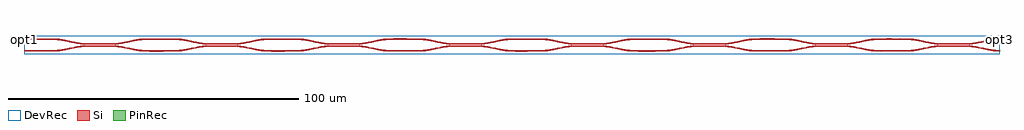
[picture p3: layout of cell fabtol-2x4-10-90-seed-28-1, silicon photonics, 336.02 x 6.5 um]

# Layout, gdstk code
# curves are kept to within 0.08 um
import gdstk
lib = gdstk.Library(unit=1e-6, precision=1e-09)
def R(c, l, rs):  # rectangles x0, y0, x1, y1
    for r in rs: c.add(gdstk.rectangle(r[:2], r[2:], *l))
def P(c, l, *ps):  # polygons
    for p in ps: c.add(gdstk.Polygon(p, *l))
Si = (1, 0)
PinRec = (1, 10)
DevRec = (68, 0)

layer_3_0_phase_sec_3_51 = lib.new_cell('layer-3_0_phase_sec_3$51')
P(layer_3_0_phase_sec_3_51, Si, [(1.074,-0.237),(0,-0.225),(0,0.225),(10,0.225),(10,-0.225)])

layer_3_0_phase_sec_1_51 = lib.new_cell('layer-3_0_phase_sec_1$51')
P(layer_3_0_phase_sec_1_51, Si, [(3.677,-0.226),(0,-0.225),(0,0.225),(10,0.225),(10,-0.225)])

layer_2_0_phase_sec_0_51 = lib.new_cell('layer-2_0_phase_sec_0$51')
P(layer_2_0_phase_sec_0_51, Si, [(1.5,-0.231),(0,-0.225),(0,0.225),(10,0.225),(10,-0.225)])

layer_0_0_phase_sec_0_51 = lib.new_cell('layer-0_0_phase_sec_0$51')
P(layer_0_0_phase_sec_0_51, Si, [(4.736,-0.239),(0,-0.225),(0,0.225),(10,0.225),(10,-0.225)])

layer_0_0_phase_sec_3_51 = lib.new_cell('layer-0_0_phase_sec_3$51')
P(layer_0_0_phase_sec_3_51, Si, [(3.536,-0.247),(0,-0.225),(0,0.225),(10,0.225),(10,-0.225)])

layer_2_0_phase_sec_1_51 = lib.new_cell('layer-2_0_phase_sec_1$51')
P(layer_2_0_phase_sec_1_51, Si, [(1.054,-0.245),(0,-0.225),(0,0.225),(10,0.225),(10,-0.225)])

layer_0_0_phase_sec_1_51 = lib.new_cell('layer-0_0_phase_sec_1$51')
P(layer_0_0_phase_sec_1_51, Si, [(3.836,-0.23),(0,-0.225),(0,0.225),(10,0.225),(10,-0.225)])

layer_1_0_phase_sec_0_51 = lib.new_cell('layer-1_0_phase_sec_0$51')
P(layer_1_0_phase_sec_0_51, Si, [(1.122,-0.23),(0,-0.225),(0,0.225),(10,0.225),(10,-0.225)])

layer_1_0_phase_sec_1_51 = lib.new_cell('layer-1_0_phase_sec_1$51')
P(layer_1_0_phase_sec_1_51, Si, [(3.449,-0.246),(0,-0.225),(0,0.225),(10,0.225),(10,-0.225)])

layer_2_0_phase_sec_3_51 = lib.new_cell('layer-2_0_phase_sec_3$51')
P(layer_2_0_phase_sec_3_51, Si, [(2.911,-0.245),(0,-0.225),(0,0.225),(10,0.225),(10,-0.225)])

layer_0_0_phase_sec_2_51 = lib.new_cell('layer-0_0_phase_sec_2$51')
P(layer_0_0_phase_sec_2_51, Si, [(3.613,-0.232),(0,-0.225),(0,0.225),(10,0.225),(10,-0.225)])

layer_1_0_phase_sec_2_51 = lib.new_cell('layer-1_0_phase_sec_2$51')
P(layer_1_0_phase_sec_2_51, Si, [(4.588,-0.246),(0,-0.225),(0,0.225),(10,0.225),(10,-0.225)])

layer_3_0_phase_sec_0_51 = lib.new_cell('layer-3_0_phase_sec_0$51')
P(layer_3_0_phase_sec_0_51, Si, [(1.281,-0.25),(0,-0.225),(0,0.225),(10,0.225),(10,-0.225)])

dc_arm_up_51 = lib.new_cell('dc_arm_up$51')
R(dc_arm_up_51, Si, [(12,0.1,20,0.55)])
P(dc_arm_up_51, Si, [(12,0.1),(10.861,0.137),(9.344,0.292),(2.966,1.532),(1.481,1.712),(0,1.775),(0,2.225),(1.139,2.188),(2.656,2.033),(9.034,0.793),(10.519,0.613),(12,0.55)],
  [(20,0.1),(20,0.55),(21.481,0.613),(22.966,0.793),(29.344,2.033),(30.861,2.188),(32,2.225),(32,1.775),(30.519,1.712),(29.034,1.532),(22.656,0.292),(21.139,0.137)])

dc_arm_down_51 = lib.new_cell('dc_arm_down$51')
R(dc_arm_down_51, Si, [(12,-0.55,20,-0.1)])
P(dc_arm_down_51, Si, [(0,-2.225),(0,-1.775),(1.481,-1.712),(2.966,-1.532),(9.344,-0.292),(10.861,-0.137),(12,-0.1),(12,-0.55),(10.519,-0.613),(9.034,-0.793),(2.656,-2.033),(1.139,-2.188)],
  [(32,-2.225),(30.861,-2.188),(29.344,-2.033),(22.966,-0.793),(21.481,-0.613),(20,-0.55),(20,-0.1),(21.139,-0.137),(22.656,-0.292),(29.034,-1.532),(30.519,-1.712),(32,-1.775)])

dc_51 = lib.new_cell('dc$51')
dc_51.add(gdstk.Reference(dc_arm_up_51, (0,0)))
dc_51.add(gdstk.Reference(dc_arm_down_51, (0,0)))

layer_2_0_phase_sec_2_51 = lib.new_cell('layer-2_0_phase_sec_2$51')
P(layer_2_0_phase_sec_2_51, Si, [(4.489,-0.234),(0,-0.225),(0,0.225),(10,0.225),(10,-0.225)])

layer_3_0_phase_sec_2_51 = lib.new_cell('layer-3_0_phase_sec_2$51')
P(layer_3_0_phase_sec_2_51, Si, [(4.599,-0.243),(0,-0.225),(0,0.225),(10,0.225),(10,-0.225)])

layer_1_0_phase_sec_3_51 = lib.new_cell('layer-1_0_phase_sec_3$51')
P(layer_1_0_phase_sec_3_51, Si, [(5.975,-0.233),(0,-0.225),(0,0.225),(10,0.225),(10,-0.225)])

fabtol_2x4_10_90_seed_28 = lib.new_cell('fabtol-2x4-10-90-seed-28-1')
R(fabtol_2x4_10_90_seed_28, DevRec, [(0,-1,336,5.497)])
fabtol_2x4_10_90_seed_28.add(gdstk.FlexPath([(0.01,4.247),(-0.01,4.247)], 0.45, ends="flush", simple_path=True, layer=1, datatype=10))  # PinRec
fabtol_2x4_10_90_seed_28.add(gdstk.FlexPath([(335.99,0.247),(336.01,0.247)], 0.45, ends="flush", simple_path=True, layer=1, datatype=10))  # PinRec
fabtol_2x4_10_90_seed_28.add(gdstk.FlexPath([(335.99,4.247),(336.01,4.247)], 0.45, ends="flush", simple_path=True, layer=1, datatype=10))  # PinRec
fabtol_2x4_10_90_seed_28.add(gdstk.Reference(layer_3_0_phase_sec_3_51, (294,0.247)))
fabtol_2x4_10_90_seed_28.add(gdstk.Reference(layer_3_0_phase_sec_1_51, (252,0.247)))
fabtol_2x4_10_90_seed_28.add(gdstk.Reference(layer_2_0_phase_sec_0_51, (168,4.247)))
fabtol_2x4_10_90_seed_28.add(gdstk.Reference(layer_0_0_phase_sec_0_51, (0,4.247)))
fabtol_2x4_10_90_seed_28.add(gdstk.Reference(layer_0_0_phase_sec_3_51, (42,0.247)))
fabtol_2x4_10_90_seed_28.add(gdstk.Reference(layer_2_0_phase_sec_1_51, (168,0.247)))
fabtol_2x4_10_90_seed_28.add(gdstk.Reference(layer_0_0_phase_sec_1_51, (0,0.247)))
fabtol_2x4_10_90_seed_28.add(gdstk.Reference(layer_1_0_phase_sec_0_51, (84,4.247)))
fabtol_2x4_10_90_seed_28.add(gdstk.Reference(layer_1_0_phase_sec_1_51, (84,0.247)))
fabtol_2x4_10_90_seed_28.add(gdstk.Reference(layer_2_0_phase_sec_3_51, (210,0.247)))
fabtol_2x4_10_90_seed_28.add(gdstk.Reference(layer_0_0_phase_sec_2_51, (42,4.247)))
fabtol_2x4_10_90_seed_28.add(gdstk.Reference(layer_1_0_phase_sec_2_51, (126,4.247)))
fabtol_2x4_10_90_seed_28.add(gdstk.Reference(layer_3_0_phase_sec_0_51, (252,4.247)))
fabtol_2x4_10_90_seed_28.add(gdstk.Reference(dc_51, (10,2.247)))
fabtol_2x4_10_90_seed_28.add(gdstk.Reference(dc_51, (52,2.247)))
fabtol_2x4_10_90_seed_28.add(gdstk.Reference(dc_51, (94,2.247)))
fabtol_2x4_10_90_seed_28.add(gdstk.Reference(dc_51, (136,2.247)))
fabtol_2x4_10_90_seed_28.add(gdstk.Reference(dc_51, (178,2.247)))
fabtol_2x4_10_90_seed_28.add(gdstk.Reference(dc_51, (220,2.247)))
fabtol_2x4_10_90_seed_28.add(gdstk.Reference(dc_51, (262,2.247)))
fabtol_2x4_10_90_seed_28.add(gdstk.Reference(dc_51, (304,2.247)))
fabtol_2x4_10_90_seed_28.add(gdstk.Reference(layer_2_0_phase_sec_2_51, (210,4.247)))
fabtol_2x4_10_90_seed_28.add(gdstk.Reference(layer_3_0_phase_sec_2_51, (294,4.247)))
fabtol_2x4_10_90_seed_28.add(gdstk.Reference(layer_1_0_phase_sec_3_51, (126,0.247)))
fabtol_2x4_10_90_seed_28.add(gdstk.Label('opt1', (0,4.247), layer=1, texttype=10))
fabtol_2x4_10_90_seed_28.add(gdstk.Label('opt3', (336,4.247), layer=1, texttype=10))
fabtol_2x4_10_90_seed_28.add(gdstk.Label('opt4', (336,0.247), layer=1, texttype=10))

lib.write_gds('fabtol-2x4-10-90-seed-28-1.gds')
